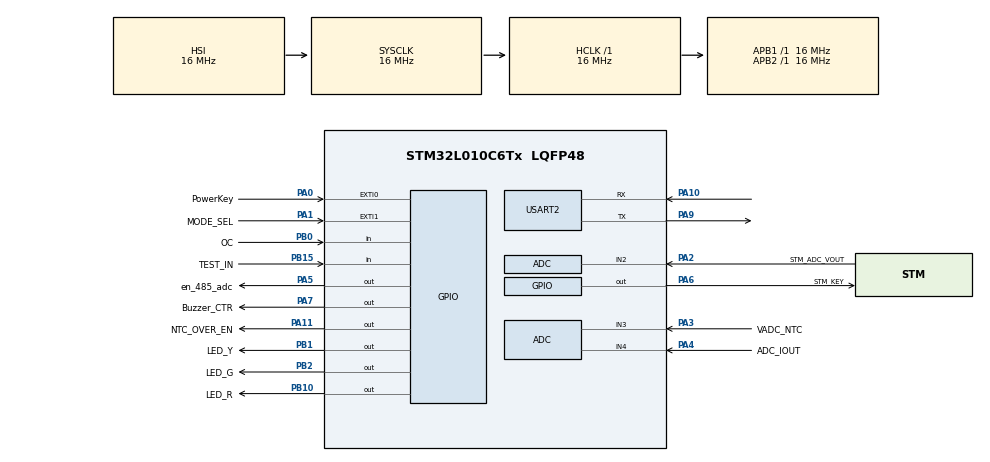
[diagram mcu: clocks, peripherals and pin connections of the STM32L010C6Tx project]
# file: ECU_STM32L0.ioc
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Mcu.Family=STM32L0
Mcu.Name=STM32L010C6Tx
Mcu.Package=LQFP48
NVIC.EXTI0_1_IRQn=true\:0\:0\:false\:false\:true\:true\:true\:true
NVIC.USART2_IRQn=true\:0\:0\:false\:false\:true\:true\:true\:true
PA0.GPIO_Label=PowerKey
PA0.GPIO_ModeDefaultEXTI=GPIO_MODE_IT_FALLING
PA0.GPIO_PuPd=GPIO_PULLUP
PA0.Signal=GPXTI0
PA1.GPIO_Label=MODE_SEL
PA1.GPIO_ModeDefaultEXTI=GPIO_MODE_IT_FALLING
PA1.GPIO_PuPd=GPIO_PULLUP
PA1.Signal=GPXTI1
PA10.Mode=Asynchronous
PA10.Signal=USART2_RX
PA11.GPIO_Label=NTC_OVER_EN
PA11.Signal=GPIO_Output
PA13.Mode=Serial_Wire
PA13.Signal=SYS_SWDIO
PA14.Mode=Serial_Wire
PA14.Signal=SYS_SWCLK
PA2.GPIO_Label=STM_ADC_VOUT
PA2.Mode=IN2
PA2.Signal=ADC_IN2
PA3.GPIO_Label=VADC_NTC
PA3.Mode=IN3
PA3.Signal=ADC_IN3
PA4.GPIO_Label=ADC_IOUT
PA4.Mode=IN4
PA4.Signal=ADC_IN4
PA5.GPIO_Label=en_485_adc
PA5.Signal=GPIO_Output
PA6.GPIO_Label=STM_KEY
PA6.Signal=GPIO_Output
PA7.GPIO_Label=Buzzer_CTR
PA7.Signal=GPIO_Output
PA9.Mode=Asynchronous
PA9.Signal=USART2_TX
PB0.GPIO_Label=OC
PB0.Signal=GPIO_Input
PB1.GPIO_Label=LED_Y
PB1.Signal=GPIO_Output
PB10.GPIO_Label=LED_R
PB10.Signal=GPIO_Output
PB15.GPIO_Label=TEST_IN
PB15.Signal=GPIO_Input
PB2.GPIO_Label=LED_G
PB2.Signal=GPIO_Output
PC14-OSC32_IN.Mode=LSE-External-Oscillator
PC14-OSC32_IN.Signal=RCC_OSC32_IN
PC15-OSC32_OUT.Mode=LSE-External-Oscillator
PC15-OSC32_OUT.Signal=RCC_OSC32_OUT
ProjectManager.HeapSize=0x200
ProjectManager.StackSize=0x400
ProjectManager.TargetToolchain=MDK-ARM V5
RCC.AHBFreq_Value=16000000
RCC.APB1Freq_Value=16000000
RCC.APB1TimFreq_Value=16000000
RCC.APB2Freq_Value=16000000
RCC.APB2TimFreq_Value=16000000
RCC.HCLKFreq_Value=16000000
RCC.HSE_VALUE=8000000
RCC.HSI16_VALUE=16000000
RCC.HSI_VALUE=16000000
RCC.MSI_VALUE=2097000
RCC.SYSCLKFreq_VALUE=16000000
RCC.SYSCLKSource=RCC_SYSCLKSOURCE_HSI
RCC.VCOOutputFreq_Value=48000000
USART2.VirtualMode=VM_ASYNC
board=custom

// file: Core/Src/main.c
/* USER CODE BEGIN Header */
/**
  ******************************************************************************
  * @file           : main.c
  * @brief          : Main program body
  ******************************************************************************
  * @attention
  *
  * Copyright (c) 2024 STMicroelectronics.
  * All rights reserved.
  *
  * This software is licensed under terms that can be found in the LICENSE file
  * in the root directory of this software component.
  * If no LICENSE file comes with this software, it is provided AS-IS.
  *
  ******************************************************************************
  */
/* USER CODE END Header */
#include "main.h"
#include "adc.h"
#include "usart.h"
#include "gpio.h"
#include "hmi.h"
#include "protocol.h"
#include <stdio.h>

/* USER CODE BEGIN PV */
uint8_t rx_buf[1] = {0};

uint32_t adc_values[3];

volatile bool is_stop_enter = false;
/* USER CODE END PV */

void SystemClock_Config(void);

int main(void)
{

    /* MCU Configuration--------------------------------------------------------*/

    /* Reset of all peripherals, Initializes the Flash interface and the Systick. */
    HAL_Init();

    /* Configure the system clock */
    SystemClock_Config();

    /* Initialize all configured peripherals */
    MX_GPIO_Init();
    MX_USART2_UART_Init();
    MX_ADC_Init();
    /* USER CODE BEGIN 2 */
    HAL_GPIO_WritePin(GPIOA, STM_KEY_Pin, GPIO_PIN_SET);
    HAL_Delay(200);
    HAL_GPIO_WritePin(GPIOA, STM_KEY_Pin, GPIO_PIN_RESET);

    HAL_GPIO_WritePin(GPIOA, en_485_adc_Pin, GPIO_PIN_SET);
    HAL_Delay(200);
    HAL_UART_Receive_IT(&huart2, rx_buf, sizeof(rx_buf));
    handlers_init();

    HAL_Delay(100);
#if defined(LOG_DBG)
    printf("ECU bank init...\n");
    all_clock_freq_print();
    reset_status_get();
#else
    key_event_notify(OPENECU);
#endif
//  HAL_GPIO_WritePin(GPIOB, LED_Y_Pin, GPIO_PIN_SET);
    led_on(LED_Y);
    g_keep_alive = 2000;
    /* USER CODE END 2 */

    /* Infinite loop */
    while (1)
    {

        /* USER CODE BEGIN 3 */
        if (g_rx_recv_flag)
        {
            g_rx_recv_flag = false;
            g_frame_timeout= 0;
#if defined(LOG_DBG)
            printf("recv frame, cmd = 0x%x\n", g_rx_buf.sdu.pdu.type);
#endif
            protocol_data_parse(&g_rx_buf);
        }

        wakeup_key_listen();

        if (g_adc_tim == 0)
        {
            g_adc_tim = 1000;
            HAL_ADCEx_Calibration_Start(&hadc, ADC_SINGLE_ENDED);
            for (int i = 0; i < 3; i++)
            {
                HAL_ADC_Start(&hadc);
                if (HAL_ADC_PollForConversion(&hadc, 10) == HAL_OK)
                {
                    adc_values[i] = HAL_ADC_GetValue(&hadc);
                }
            }
#if defined(LOG_DBG)
            printf("%d mV, %d mV, %d mV\n", adc_values[0] * 3300 * 5 / 4096, adc_values[1] * 3300 / 4096, adc_values[2] *3300 * 2 / 4096);
#endif
        }

        if (g_keep_alive == 0)
        {
            g_keep_alive = 5000;
            HAL_GPIO_WritePin(GPIOA, STM_KEY_Pin, GPIO_PIN_SET);
            HAL_Delay(200);
            HAL_GPIO_WritePin(GPIOA, STM_KEY_Pin, GPIO_PIN_RESET);
#if defined(LOG_DBG)
            printf("reset\n");
#endif
        }
    }
    /* USER CODE END 3 */
}

void SystemClock_Config(void)
{
    RCC_OscInitTypeDef RCC_OscInitStruct = {0};
    RCC_ClkInitTypeDef RCC_ClkInitStruct = {0};
    RCC_PeriphCLKInitTypeDef PeriphClkInit = {0};

    /** Configure the main internal regulator output voltage
    */
    __HAL_PWR_VOLTAGESCALING_CONFIG(PWR_REGULATOR_VOLTAGE_SCALE1);

    /** Initializes the RCC Oscillators according to the specified parameters
    * in the RCC_OscInitTypeDef structure.
    */
    RCC_OscInitStruct.OscillatorType = RCC_OSCILLATORTYPE_HSI;
    RCC_OscInitStruct.HSIState = RCC_HSI_ON;
    RCC_OscInitStruct.HSICalibrationValue = RCC_HSICALIBRATION_DEFAULT;
    RCC_OscInitStruct.PLL.PLLState = RCC_PLL_NONE;
    if (HAL_RCC_OscConfig(&RCC_OscInitStruct) != HAL_OK)
    {
        Error_Handler();
    }

    /** Initializes the CPU, AHB and APB buses clocks
    */
    RCC_ClkInitStruct.ClockType = RCC_CLOCKTYPE_HCLK|RCC_CLOCKTYPE_SYSCLK
                                                            |RCC_CLOCKTYPE_PCLK1|RCC_CLOCKTYPE_PCLK2;
    RCC_ClkInitStruct.SYSCLKSource = RCC_SYSCLKSOURCE_HSI;
    RCC_ClkInitStruct.AHBCLKDivider = RCC_SYSCLK_DIV1;
    RCC_ClkInitStruct.APB1CLKDivider = RCC_HCLK_DIV1;
    RCC_ClkInitStruct.APB2CLKDivider = RCC_HCLK_DIV1;

    if (HAL_RCC_ClockConfig(&RCC_ClkInitStruct, FLASH_LATENCY_0) != HAL_OK)
    {
        Error_Handler();
    }
    PeriphClkInit.PeriphClockSelection = RCC_PERIPHCLK_USART2;
    PeriphClkInit.Usart2ClockSelection = RCC_USART2CLKSOURCE_PCLK1;
    if (HAL_RCCEx_PeriphCLKConfig(&PeriphClkInit) != HAL_OK)
    {
        Error_Handler();
    }
}

/* USER CODE BEGIN 4 */
/**
 * @brief  Get reset status
 * @retval reset_status_t
 */
reset_status_t reset_status_get (void)
{
    uint32_t reg = READ_REG(RCC->CSR);
    reset_status_t rst_st = RST_UNK;

    if (READ_BIT(RCC->CSR, RCC_CSR_SFTRSTF) != RESET)
    {
#if defined(LOG_DBG)
        printf("Software reset\r\n");
#endif
        rst_st = RST_SFT;
    }
    else if (READ_BIT(RCC->CSR, RCC_CSR_PORRSTF) != RESET)
    {
#if defined(LOG_DBG)
        printf("POR/PDR reset\r\n");
#endif
        rst_st = RST_POR;
    }
    else if (READ_BIT(reg, RCC_CSR_PINRSTF) != RESET)
    {
#if defined(LOG_DBG)
        printf("PIN reset\r\n");
#endif
        rst_st = RST_PIN;
    }
    else
    {
        Error_Handler();
    }
    //!< Clear reset flags
    __HAL_RCC_CLEAR_RESET_FLAGS();

    return rst_st;
}
/* USER CODE END 4 */

void Error_Handler(void)
{
    __disable_irq();
    while (1)
    {
    }
}
